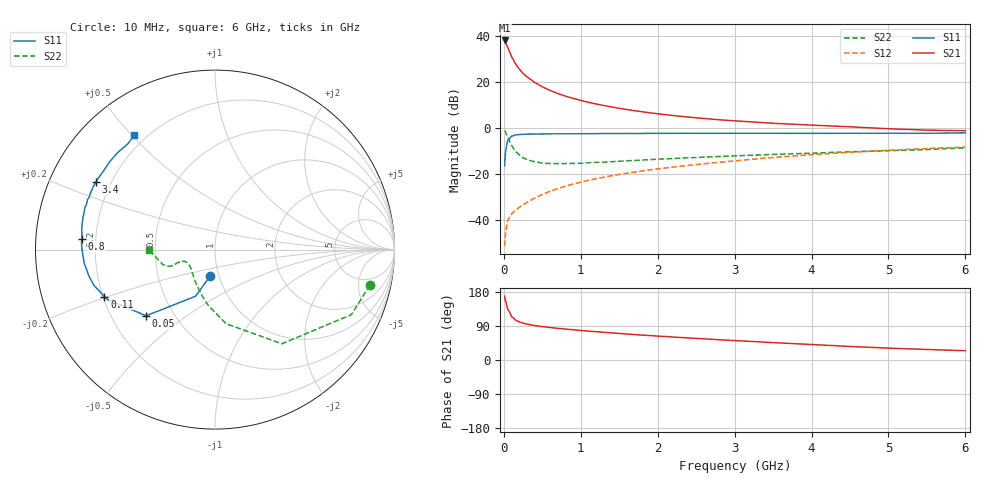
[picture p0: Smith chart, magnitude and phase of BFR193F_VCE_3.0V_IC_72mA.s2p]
! Infineon Technologies  Discrete & RF Semiconductors
! BFR193F
! VCE =  3.0 V,  IC =  72 mA
! Common Emitter S-Parameters:  Jan 2017
# GHz  S  MA  R  50
!  f  S11  S21  S12  S22
! GHz  MAG  ANG  MAG  ANG  MAG  ANG  MAG  ANG
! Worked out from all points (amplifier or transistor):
!   77 points, 10 MHz to 6 GHz, reference 50 ohm
!   highest |S21| = 38.0 dB at 10 MHz (marker M1)
!   |S21| within 3 dB of that: start of sweep to 50.44 MHz
!   unconditionally stable (mu >= 1): 589.2 MHz to 2.631 GHz
!   at 130 MHz: K = 0.61, MSG = 32.8 dB, |S12| = -36.4 dB
!   at 2.2 GHz: K = 1.02, MAG = 10.3 dB, |S12| = -17.0 dB
!   at 6 GHz: K = 0.87, MSG = 3.6 dB, |S12| = -8.3 dB
!   S11 on the Smith chart (normalised r, x): 10 MHz: 0.91, -0.27; 50 MHz: 0.35, -0.36; 110 MHz: 0.21, -0.20; 800 MHz: 0.15, +0.04; 3.4 GHz: 0.14, +0.26; 6 GHz: 0.16, +0.51
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0.01  0.15 -100.2  79.26 168.6  0.0027 80.2  0.885 -12.9
0.02  0.282 -112.7  74.8 157.2  0.0047 76.8  0.8419 -25.5
0.05  0.5326 -136.2  56.32 133.4  0.0097 57.3  0.6436 -54.6
0.1  0.662 -155.2  35.25 114.3  0.0134 53.3  0.4176 -81.5
0.11  0.6692 -157.0  33.12 113.0  0.014 53.5  0.3947 -83.9
0.15  0.7038 -163.6  24.83 105.7  0.0162 54.0  0.3128 -97.0
0.2  0.7182 -168.3  19 100.5  0.0188 58.9  0.2594 -107.4
0.25  0.7252 -171.7  15.33 97.2  0.0213 61.0  0.2245 -116.3
0.3  0.7326 -173.8  12.86 94.7  0.0239 64.6  0.2064 -122.8
0.4  0.7361 -177.2  9.707 90.8  0.0298 66.9  0.1835 -132.8
0.5  0.7399 -179.5  7.8 88.1  0.0358 69.9  0.1726 -139.7
0.6  0.7429 178.6  6.53 85.7  0.0419 71.7  0.1683 -144.9
0.7  0.7453 176.7  5.608 83.5  0.0478 73.2  0.1676 -148.5
0.8  0.7435 175.4  4.906 81.7  0.0542 74.1  0.168 -151.8
1.1  0.7513 171.3  3.595 76.3  0.0729 75.4  0.1751 -156.4
1.5  0.7561 167.0  2.666 70.1  0.0976 75.6  0.1888 -159.6
2.1  0.7601 161.3  1.942 61.9  0.1347 74.6  0.2126 -160.7
3.1  0.7631 152.8  1.391 50.2  0.1988 71.9  0.2505 -159.3
3.4  0.7631 150.3  1.293 47.0  0.2204 70.7  0.2618 -159.5
4.1  0.7607 143.8  1.13 39.8  0.2687 67.1  0.2864 -161.6
5.1  0.7645 133.7  0.945 30.6  0.3324 60.7  0.3233 -170.5
6  0.78 125.1  0.869 24.5  0.3833 55.0  0.3693 -179.6
